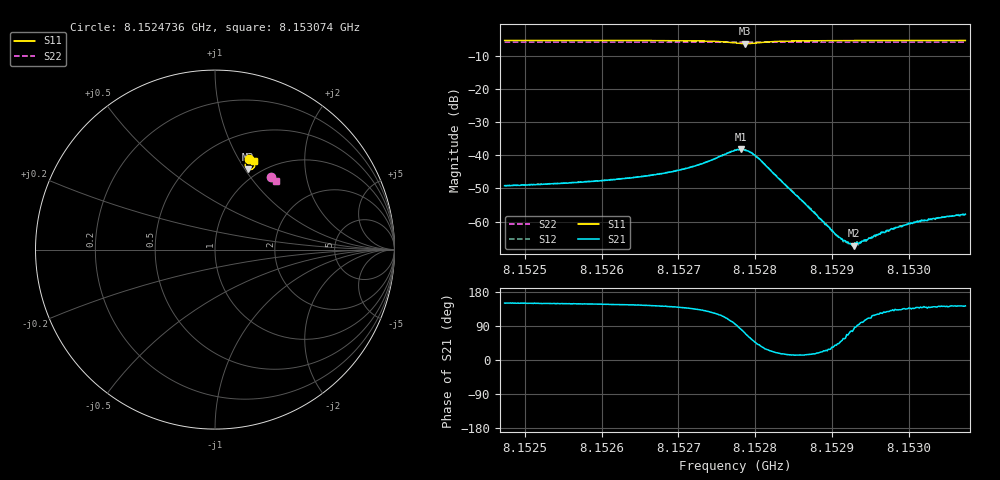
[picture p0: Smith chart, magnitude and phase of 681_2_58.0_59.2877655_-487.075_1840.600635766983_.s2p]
#  HZ  S  RI  R  50.00
! Rohde & Schwarz Vector Network Analyzer
! Rohde-Schwarz,ZNB20-2Port,1311601062101988,3.16
! Created: UTC 3/21/2024, 1:20:52 AM
! freq[Hz]  re:S11  im:S11  re:S21  im:S21  re:S12  im:S12  re:S22  im:S22
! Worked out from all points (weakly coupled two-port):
!   401 points, 8.1524736 GHz to 8.153074 GHz, reference 50 ohm
!   highest |S21| = -38.17 dB at 8.1527813 GHz (marker M1); lowest = -67.3 dB at 8.1529284 GHz (marker M2)
!   lowest |S11| = -6.3 dB at 8.1527873 GHz (marker M3), VSWR 2.88, Z = 44.3 + j51.8 ohm
!   |S11| at or under -10 dB: nowhere
!   |S22| runs from -5.9 to -5.8 dB; largest |S21 - S12| = 0.00031
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8.15247365e9  0.1894 0.5064  -0.00301 0.00172  -0.00301 0.00178  0.31 0.4065
8.1525742e9  0.1981 0.5029  -0.00332 0.0021  -0.00333 0.00214  0.315 0.4025
8.15262973e9  0.2038 0.4999  -0.00368 0.0025  -0.00366 0.00256  0.3179 0.4001
8.15267476e9  0.2096 0.4962  -0.00413 0.00315  -0.00412 0.00323  0.3201 0.3981
8.15272129e9  0.2176 0.4876  -0.00482 0.00488  -0.0048 0.00498  0.3224 0.3958
8.1527408e9  0.2212 0.4794  -0.00498 0.00657  -0.00491 0.00663  0.3233 0.3948
8.15277382e9  0.2098 0.4499  -0.00106 0.0118  -0.000931 0.012  0.3241 0.3924
8.15278132e9  0.1971 0.4456  0.00178 0.0122  0.00184 0.0122  0.3238 0.3922
8.15278732e9  0.1855 0.4472  0.00412 0.0111  0.00425 0.0113  0.3236 0.3924
8.15279633e9  0.1724 0.458  0.00645 0.00857  0.00652 0.00851  0.3238 0.3924
8.15280683e9  0.1683 0.4736  0.00677 0.00517  0.00688 0.00514  0.3242 0.3929
8.15287437e9  0.1935 0.4994  0.00139 0.000385  0.00142 0.000388  0.3288 0.3906
8.15290889e9  0.2004 0.4995  0.000424 0.000391  0.000431 0.000409  0.3305 0.3891
8.1529239e9  0.2026 0.4992  0.000122 0.000448  0.000132 0.000449  0.3314 0.3885
8.1529284e9  0.2034 0.4991  6.84e-05 0.000424  5.83e-05 0.000448  0.3316 0.3883
8.15293741e9  0.2046 0.4989  -7.04e-05 0.000467  -7.64e-05 0.000488  0.332 0.388
8.15296592e9  0.208 0.4981  -0.000373 0.000574  -0.000385 0.00056  0.3335 0.3865
8.15297493e9  0.2091 0.4979  -0.000451 0.000569  -0.000449 0.000596  0.3339 0.3862
8.15298694e9  0.2102 0.4976  -0.000554 0.000611  -0.000563 0.000625  0.3345 0.3857
8.15301395e9  0.2129 0.4969  -0.000748 0.000691  -0.000725 0.000665  0.3358 0.3846
8.15304097e9  0.2156 0.496  -0.000887 0.000719  -0.000874 0.000748  0.3372 0.3834
8.15307399e9  0.2181 0.495  -0.00103 0.000781  -0.00101 0.000789  0.3385 0.382
